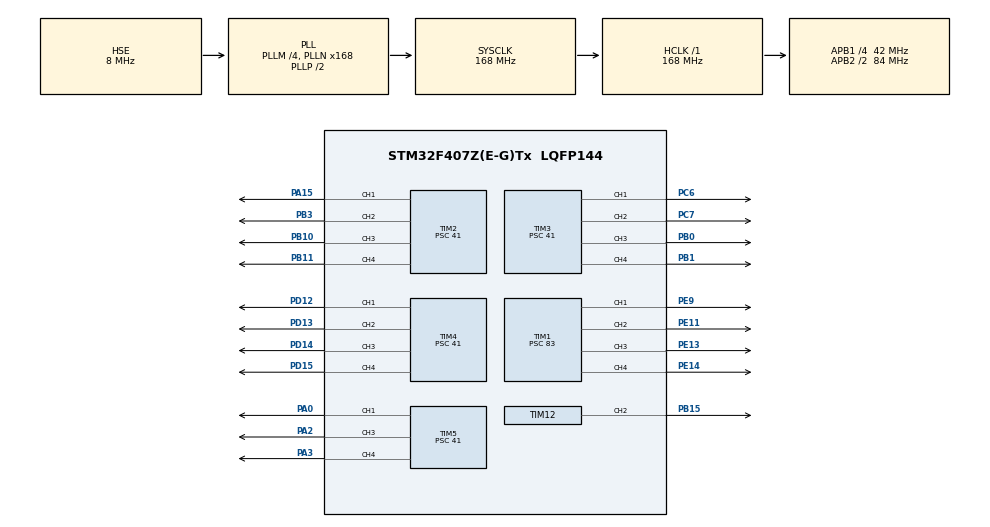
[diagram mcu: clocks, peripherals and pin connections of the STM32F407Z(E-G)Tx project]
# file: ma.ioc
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Mcu.Family=STM32F4
Mcu.Name=STM32F407Z(E-G)Tx
Mcu.Package=LQFP144
NVIC.PriorityGroup=NVIC_PRIORITYGROUP_4
NVIC.TIM1_CC_IRQn=true\:0\:0\:false\:false\:true\:true\:true\:true
NVIC.TIM2_IRQn=true\:0\:0\:false\:false\:true\:true\:true\:true
NVIC.TIM3_IRQn=true\:0\:0\:false\:false\:true\:true\:true\:true
NVIC.TIM4_IRQn=true\:0\:0\:false\:false\:true\:true\:true\:true
NVIC.TIM5_IRQn=true\:0\:0\:false\:false\:true\:true\:true\:true
NVIC.TIM8_BRK_TIM12_IRQn=true\:0\:0\:false\:false\:true\:true\:true\:true
PA0-WKUP.GPIO_Speed=GPIO_SPEED_FREQ_MEDIUM
PA0-WKUP.Signal=S_TIM5_CH1
PA13.Mode=Serial_Wire
PA13.Signal=SYS_JTMS-SWDIO
PA14.Mode=Serial_Wire
PA14.Signal=SYS_JTCK-SWCLK
PA15.GPIO_Speed=GPIO_SPEED_FREQ_MEDIUM
PA15.Signal=S_TIM2_CH1_ETR
PA2.GPIO_Speed=GPIO_SPEED_FREQ_MEDIUM
PA2.Signal=S_TIM5_CH3
PA3.GPIO_Speed=GPIO_SPEED_FREQ_MEDIUM
PA3.Signal=S_TIM5_CH4
PB0.GPIO_Speed=GPIO_SPEED_FREQ_MEDIUM
PB0.Signal=S_TIM3_CH3
PB1.GPIO_Speed=GPIO_SPEED_FREQ_MEDIUM
PB1.Signal=S_TIM3_CH4
PB10.GPIO_Speed=GPIO_SPEED_FREQ_MEDIUM
PB10.Signal=S_TIM2_CH3
PB11.GPIO_Speed=GPIO_SPEED_FREQ_MEDIUM
PB11.Signal=S_TIM2_CH4
PB15.Signal=S_TIM12_CH2
PB3.GPIO_Speed=GPIO_SPEED_FREQ_MEDIUM
PB3.Signal=S_TIM2_CH2
PC6.GPIO_Speed=GPIO_SPEED_FREQ_MEDIUM
PC6.Signal=S_TIM3_CH1
PC7.GPIO_Speed=GPIO_SPEED_FREQ_MEDIUM
PC7.Signal=S_TIM3_CH2
PD12.GPIO_Speed=GPIO_SPEED_FREQ_MEDIUM
PD12.Signal=S_TIM4_CH1
PD13.GPIO_Speed=GPIO_SPEED_FREQ_MEDIUM
PD13.Signal=S_TIM4_CH2
PD14.GPIO_Speed=GPIO_SPEED_FREQ_MEDIUM
PD14.Signal=S_TIM4_CH3
PD15.GPIO_Speed=GPIO_SPEED_FREQ_MEDIUM
PD15.Signal=S_TIM4_CH4
PE11.GPIO_Speed=GPIO_SPEED_FREQ_MEDIUM
PE11.Signal=S_TIM1_CH2
PE13.GPIO_Speed=GPIO_SPEED_FREQ_MEDIUM
PE13.Signal=S_TIM1_CH3
PE14.GPIO_Speed=GPIO_SPEED_FREQ_MEDIUM
PE14.Signal=S_TIM1_CH4
PE9.GPIO_Speed=GPIO_SPEED_FREQ_MEDIUM
PE9.Signal=S_TIM1_CH1
PH0-OSC_IN.Mode=HSE-External-Oscillator
PH0-OSC_IN.Signal=RCC_OSC_IN
PH1-OSC_OUT.Mode=HSE-External-Oscillator
PH1-OSC_OUT.Signal=RCC_OSC_OUT
ProjectManager.HeapSize=0x200
ProjectManager.StackSize=0x400
ProjectManager.TargetToolchain=Makefile
RCC.48MHZClocksFreq_Value=84000000
RCC.AHBFreq_Value=168000000
RCC.APB1CLKDivider=RCC_HCLK_DIV4
RCC.APB1Freq_Value=42000000
RCC.APB1TimFreq_Value=84000000
RCC.APB2CLKDivider=RCC_HCLK_DIV2
RCC.APB2Freq_Value=84000000
RCC.APB2TimFreq_Value=168000000
RCC.CortexFreq_Value=168000000
RCC.HCLKFreq_Value=168000000
RCC.HSE_VALUE=8000000
RCC.HSI_VALUE=16000000
RCC.LSE_VALUE=32768
RCC.PLLM=4
RCC.PLLN=168
RCC.PLLSourceVirtual=RCC_PLLSOURCE_HSE
RCC.SYSCLKFreq_VALUE=168000000
RCC.SYSCLKSource=RCC_SYSCLKSOURCE_PLLCLK
RCC.VCOOutputFreq_Value=336000000
SH.S_TIM12_CH2.0=TIM12_CH2,Output Compare2 CH2
SH.S_TIM1_CH1.0=TIM1_CH1,Output Compare1 CH1
SH.S_TIM1_CH2.0=TIM1_CH2,Output Compare2 CH2
SH.S_TIM1_CH3.0=TIM1_CH3,Output Compare3 CH3
SH.S_TIM1_CH4.0=TIM1_CH4,Output Compare4 CH4
SH.S_TIM2_CH1_ETR.0=TIM2_CH1,Output Compare1 CH1
SH.S_TIM2_CH2.0=TIM2_CH2,Output Compare2 CH2
SH.S_TIM2_CH3.0=TIM2_CH3,Output Compare3 CH3
SH.S_TIM2_CH4.0=TIM2_CH4,Output Compare4 CH4
SH.S_TIM3_CH1.0=TIM3_CH1,Output Compare1 CH1
SH.S_TIM3_CH2.0=TIM3_CH2,Output Compare2 CH2
SH.S_TIM3_CH3.0=TIM3_CH3,Output Compare3 CH3
SH.S_TIM3_CH4.0=TIM3_CH4,Output Compare4 CH4
SH.S_TIM4_CH1.0=TIM4_CH1,Output Compare1 CH1
SH.S_TIM4_CH2.0=TIM4_CH2,Output Compare2 CH2
SH.S_TIM4_CH3.0=TIM4_CH3,Output Compare3 CH3
SH.S_TIM4_CH4.0=TIM4_CH4,Output Compare4 CH4
SH.S_TIM5_CH1.0=TIM5_CH1,Output Compare1 CH1
SH.S_TIM5_CH3.0=TIM5_CH3,Output Compare3 CH3
SH.S_TIM5_CH4.0=TIM5_CH4,Output Compare4 CH4
TIM1.Channel-Output\ Compare1\ CH1=TIM_CHANNEL_1
TIM1.Channel-Output\ Compare2\ CH2=TIM_CHANNEL_2
TIM1.Channel-Output\ Compare3\ CH3=TIM_CHANNEL_3
TIM1.Channel-Output\ Compare4\ CH4=TIM_CHANNEL_4
TIM1.OCMode_1=TIM_OCMODE_TOGGLE
TIM1.OCMode_2=TIM_OCMODE_TOGGLE
TIM1.OCMode_3=TIM_OCMODE_TOGGLE
TIM1.OCMode_4=TIM_OCMODE_TOGGLE
TIM1.Prescaler=83
TIM1.Pulse-Output\ Compare1\ CH1=0
TIM1.Pulse-Output\ Compare2\ CH2=0
TIM1.Pulse-Output\ Compare3\ CH3=0
TIM1.Pulse-Output\ Compare4\ CH4=0
TIM12.Channel-Output\ Compare2\ CH2=TIM_CHANNEL_2
TIM12.OCMode_2=TIM_OCMODE_TOGGLE
TIM12.Prescaler=41
TIM2.Channel-Output\ Compare1\ CH1=TIM_CHANNEL_1
TIM2.Channel-Output\ Compare2\ CH2=TIM_CHANNEL_2
TIM2.Channel-Output\ Compare3\ CH3=TIM_CHANNEL_3
TIM2.Channel-Output\ Compare4\ CH4=TIM_CHANNEL_4
TIM2.OCMode_1=TIM_OCMODE_TOGGLE
TIM2.OCMode_2=TIM_OCMODE_TOGGLE
TIM2.OCMode_3=TIM_OCMODE_TOGGLE
TIM2.OCMode_4=TIM_OCMODE_TOGGLE
TIM2.Prescaler=41
TIM2.Pulse-Output\ Compare1\ CH1=0
TIM2.Pulse-Output\ Compare2\ CH2=0
TIM2.Pulse-Output\ Compare3\ CH3=0
TIM2.Pulse-Output\ Compare4\ CH4=0
TIM3.Channel-Output\ Compare1\ CH1=TIM_CHANNEL_1
TIM3.Channel-Output\ Compare2\ CH2=TIM_CHANNEL_2
TIM3.Channel-Output\ Compare3\ CH3=TIM_CHANNEL_3
TIM3.Channel-Output\ Compare4\ CH4=TIM_CHANNEL_4
TIM3.OCMode_1=TIM_OCMODE_TOGGLE
TIM3.OCMode_2=TIM_OCMODE_TOGGLE
TIM3.OCMode_3=TIM_OCMODE_TOGGLE
TIM3.OCMode_4=TIM_OCMODE_TOGGLE
TIM3.Prescaler=41
TIM3.Pulse-Output\ Compare1\ CH1=0
TIM3.Pulse-Output\ Compare2\ CH2=0
TIM3.Pulse-Output\ Compare3\ CH3=0
TIM3.Pulse-Output\ Compare4\ CH4=0
TIM4.Channel-Output\ Compare1\ CH1=TIM_CHANNEL_1
TIM4.Channel-Output\ Compare2\ CH2=TIM_CHANNEL_2
TIM4.Channel-Output\ Compare3\ CH3=TIM_CHANNEL_3
TIM4.Channel-Output\ Compare4\ CH4=TIM_CHANNEL_4
TIM4.OCMode_1=TIM_OCMODE_TOGGLE
TIM4.OCMode_2=TIM_OCMODE_TOGGLE
TIM4.OCMode_3=TIM_OCMODE_TOGGLE
TIM4.OCMode_4=TIM_OCMODE_TOGGLE
TIM4.Prescaler=41
TIM4.Pulse-Output\ Compare1\ CH1=0
TIM4.Pulse-Output\ Compare2\ CH2=0
TIM4.Pulse-Output\ Compare3\ CH3=0
TIM5.Channel-Output\ Compare1\ CH1=TIM_CHANNEL_1
TIM5.Channel-Output\ Compare3\ CH3=TIM_CHANNEL_3
TIM5.Channel-Output\ Compare4\ CH4=TIM_CHANNEL_4
TIM5.OCMode_1=TIM_OCMODE_TOGGLE
TIM5.OCMode_3=TIM_OCMODE_TOGGLE
TIM5.OCMode_4=TIM_OCMODE_TOGGLE
TIM5.Prescaler=41
VP_TIM12_VS_ClockSourceINT.Mode=Internal
VP_TIM1_VS_ClockSourceINT.Mode=Internal
VP_TIM2_VS_ClockSourceINT.Mode=Internal
VP_TIM3_VS_ClockSourceINT.Mode=Internal
VP_TIM4_VS_ClockSourceINT.Mode=Internal
VP_TIM5_VS_ClockSourceINT.Mode=Internal
board=custom

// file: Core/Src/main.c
/* USER CODE BEGIN Header */
/**
 ******************************************************************************
 * @file           : main.c
 * @brief          : Main program body
 ******************************************************************************
 * @attention
 *
 * Copyright (c) 2023 STMicroelectronics.
 * All rights reserved.
 *
 * This software is licensed under terms that can be found in the LICENSE file
 * in the root directory of this software component.
 * If no LICENSE file comes with this software, it is provided AS-IS.
 *
 ******************************************************************************
 */
/* USER CODE END Header */
#include "main.h"
#include "tim.h"
#include "gpio.h"

/* USER CODE BEGIN Includes */
#include "stdlib.h"
#include "time.h"
/* USER CODE END Includes */

/* USER CODE BEGIN PD */
#define BASE_FREQ 130
/* USER CODE END PD */

void SystemClock_Config(void);

int main(void)
{

  /* MCU Configuration--------------------------------------------------------*/

  /* Reset of all peripherals, Initializes the Flash interface and the Systick. */
  HAL_Init();

  /* Configure the system clock */
  SystemClock_Config();

  /* Initialize all configured peripherals */
  MX_GPIO_Init();
  MX_TIM1_Init();
  MX_TIM2_Init();
  MX_TIM3_Init();
  MX_TIM4_Init();
  MX_TIM5_Init();
  MX_TIM12_Init();
  /* USER CODE BEGIN 2 */
  for (uint8_t i = 0; i <= 0x0C; i += 4)
  {
    __HAL_TIM_SET_COMPARE(&htim1, i, BASE_FREQ);
    __HAL_TIM_SET_COMPARE(&htim2, i, BASE_FREQ);
    __HAL_TIM_SET_COMPARE(&htim3, i, BASE_FREQ);
    __HAL_TIM_SET_COMPARE(&htim4, i, BASE_FREQ);
    __HAL_TIM_SET_COMPARE(&htim5, i, BASE_FREQ);
    __HAL_TIM_SET_COMPARE(&htim12, i, BASE_FREQ);
  }

  HAL_TIM_Base_Start(&htim1);
  HAL_TIM_Base_Start(&htim2);
  HAL_TIM_Base_Start(&htim3);
  HAL_TIM_Base_Start(&htim4);
  HAL_TIM_Base_Start(&htim5);
  HAL_TIM_Base_Start(&htim12);

  for (uint8_t i = 0; i <= 0x0C; i += 4)
  {
    HAL_TIM_OC_Start_IT(&htim1, i);
    HAL_TIM_OC_Start_IT(&htim2, i);
    HAL_TIM_OC_Start_IT(&htim3, i);
    HAL_TIM_OC_Start_IT(&htim4, i);
    HAL_TIM_OC_Start_IT(&htim5, i);
    HAL_TIM_OC_Start_IT(&htim12, i);
  }

  /* USER CODE END 2 */

  /* Infinite loop */
  while (1)
  {

  }
}

void SystemClock_Config(void)
{
  RCC_OscInitTypeDef RCC_OscInitStruct = {0};
  RCC_ClkInitTypeDef RCC_ClkInitStruct = {0};

  /** Configure the main internal regulator output voltage
   */
  __HAL_RCC_PWR_CLK_ENABLE();
  __HAL_PWR_VOLTAGESCALING_CONFIG(PWR_REGULATOR_VOLTAGE_SCALE1);

  /** Initializes the RCC Oscillators according to the specified parameters
   * in the RCC_OscInitTypeDef structure.
   */
  RCC_OscInitStruct.OscillatorType = RCC_OSCILLATORTYPE_HSE;
  RCC_OscInitStruct.HSEState = RCC_HSE_ON;
  RCC_OscInitStruct.PLL.PLLState = RCC_PLL_ON;
  RCC_OscInitStruct.PLL.PLLSource = RCC_PLLSOURCE_HSE;
  RCC_OscInitStruct.PLL.PLLM = 4;
  RCC_OscInitStruct.PLL.PLLN = 168;
  RCC_OscInitStruct.PLL.PLLP = RCC_PLLP_DIV2;
  RCC_OscInitStruct.PLL.PLLQ = 4;
  if (HAL_RCC_OscConfig(&RCC_OscInitStruct) != HAL_OK)
  {
    Error_Handler();
  }

  /** Initializes the CPU, AHB and APB buses clocks
   */
  RCC_ClkInitStruct.ClockType = RCC_CLOCKTYPE_HCLK | RCC_CLOCKTYPE_SYSCLK | RCC_CLOCKTYPE_PCLK1 | RCC_CLOCKTYPE_PCLK2;
  RCC_ClkInitStruct.SYSCLKSource = RCC_SYSCLKSOURCE_PLLCLK;
  RCC_ClkInitStruct.AHBCLKDivider = RCC_SYSCLK_DIV1;
  RCC_ClkInitStruct.APB1CLKDivider = RCC_HCLK_DIV4;
  RCC_ClkInitStruct.APB2CLKDivider = RCC_HCLK_DIV2;

  if (HAL_RCC_ClockConfig(&RCC_ClkInitStruct, FLASH_LATENCY_5) != HAL_OK)
  {
    Error_Handler();
  }
}

/* USER CODE BEGIN 4 */
void HAL_TIM_OC_DelayElapsedCallback(TIM_HandleTypeDef *htim)
{
  static uint16_t channel_duty1 = BASE_FREQ, channel_duty2 = BASE_FREQ, channel_duty3 = BASE_FREQ, channel_duty4 = BASE_FREQ;
  static uint8_t channel_toggle1 = 0, channel_toggle2 = 0, channel_toggle3 = 0, channel_toggle4 = 0;

  /*获取当前计数*/
  uint32_t g_count_val = __HAL_TIM_GET_COUNTER(htim);
  __NOP();
  __NOP();
  __NOP();
  __NOP();
  __NOP();

  /*设置比较数值*/
  if (htim->Channel == HAL_TIM_ACTIVE_CHANNEL_1)
  {
    if (channel_toggle1 == 0)
    {
      channel_toggle1++;
      __HAL_TIM_SET_COMPARE(htim, TIM_CHANNEL_1, (g_count_val + channel_duty1));
    }
    else
    {
      channel_duty1 = Random_ccr();
      channel_toggle1 = 0;
      __HAL_TIM_SET_COMPARE(htim, TIM_CHANNEL_1, (g_count_val + channel_duty1));
    }
  }

  if (htim->Channel == HAL_TIM_ACTIVE_CHANNEL_2)
  {
    if (channel_toggle2 == 0)
    {
      channel_toggle2++;
      __HAL_TIM_SET_COMPARE(htim, TIM_CHANNEL_2, (g_count_val + channel_duty2));
    }
    else
    {
      channel_duty2 = Random_ccr();
      channel_toggle2 = 0;
      __HAL_TIM_SET_COMPARE(htim, TIM_CHANNEL_2, (g_count_val + channel_duty2));
    }
  }

  if (htim->Channel == HAL_TIM_ACTIVE_CHANNEL_3)
  {
    if (channel_toggle3 == 0)
    {
      channel_toggle3++;
      __HAL_TIM_SET_COMPARE(htim, TIM_CHANNEL_3, (g_count_val + channel_duty3));
    }
    else
    {
      channel_duty3 = Random_ccr();
      channel_toggle3 = 0;
      __HAL_TIM_SET_COMPARE(htim, TIM_CHANNEL_3, (g_count_val + channel_duty3));
    }
  }

  if (htim->Channel == HAL_TIM_ACTIVE_CHANNEL_4)
  {
    if (channel_toggle4 == 0)
    {
      channel_toggle4++;
      __HAL_TIM_SET_COMPARE(htim, TIM_CHANNEL_4, (g_count_val + channel_duty4));
    }
    else
    {
      channel_duty4 = Random_ccr();
      channel_toggle4 = 0;
      __HAL_TIM_SET_COMPARE(htim, TIM_CHANNEL_4, (g_count_val + channel_duty4));
    }
  }
}

uint8_t Random_ccr(void)
{
  srand(HAL_GetTick());
  uint8_t rc = rand() % 30;
  return (rc + BASE_FREQ);
}
/* USER CODE END 4 */

void Error_Handler(void)
{
  __disable_irq();
  while (1)
  {
  }
}
